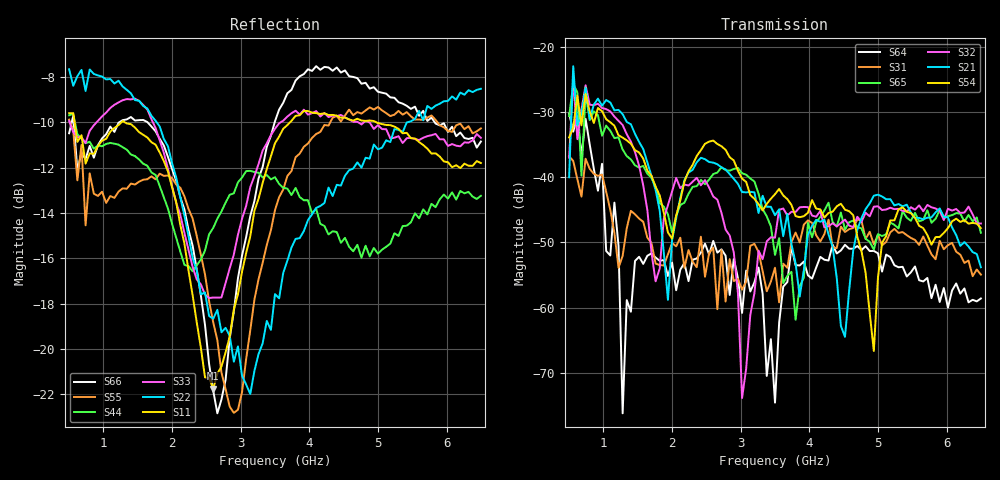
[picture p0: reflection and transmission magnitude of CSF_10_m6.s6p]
!Keysight Technologies,M9804A,MY58100912,A.14.10.03
!Date: Thursday, April 27, 2023 10:28:33
!Correction: S11(C  6-Port  )
!S12(C  6-Port  )
!S13(C  6-Port  )
!S14(C  6-Port  )
!S15(C  6-Port  )
!S16(C  6-Port  )
!S21(C  6-Port  )
!S22(C  6-Port  )
!S23(C  6-Port  )
!S24(C  6-Port  )
!S25(C  6-Port  )
!S26(C  6-Port  )
!S31(C  6-Port  )
!S32(C  6-Port  )
!S33(C  6-Port  )
!S34(C  6-Port  )
!S35(C  6-Port  )
!S36(C  6-Port  )
!S41(C  6-Port  )
!S42(C  6-Port  )
!S43(C  6-Port  )
!S44(C  6-Port  )
!S45(C  6-Port  )
!S46(C  6-Port  )
!S51(C  6-Port  )
!S52(C  6-Port  )
!S53(C  6-Port  )
!S54(C  6-Port  )
!S55(C  6-Port  )
!S56(C  6-Port  )
!S61(C  6-Port  )
!S62(C  6-Port  )
!S63(C  6-Port  )
!S64(C  6-Port  )
!S65(C  6-Port  )
!S66(C  6-Port  )
!S6P File: Measurement: :
# Hz S  RI  R 50
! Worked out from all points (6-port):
!   101 points, 500 MHz to 6.5 GHz, reference 50 ohm
!   strongest paths, dB at 500 MHz, 2 GHz, 3.5 GHz, 5 GHz, 6.5 GHz:
!     S54: -33.9, -49.4, -42.6, -55.5, -47.8
!     S21: -40.0, -49.7, -45.8, -42.7, -53.8
!     S32: -37.0, -42.2, -49.3, -44.5, -47.1
!     S65: -30.6, -48.5, -51.9, -48.7, -48.5
!     S31: -36.8, -50.1, -53.9, -48.8, -55.0
!     S64: -30.2, -53.1, -74.6, -51.7, -58.6
!   lowest |S11| = -21.7 dB at 2.6 GHz (marker M1), VSWR 1.18, Z = 42.7 + j1.99 ohm
!   |S11| at or under -10 dB: 579.5 MHz to 1.259 GHz (679.9 MHz wide, 73.9 % of centre); 1.315 GHz to 3.717 GHz (2.402 GHz wide, 95.5 % of centre); 4.982 GHz to end of sweep
